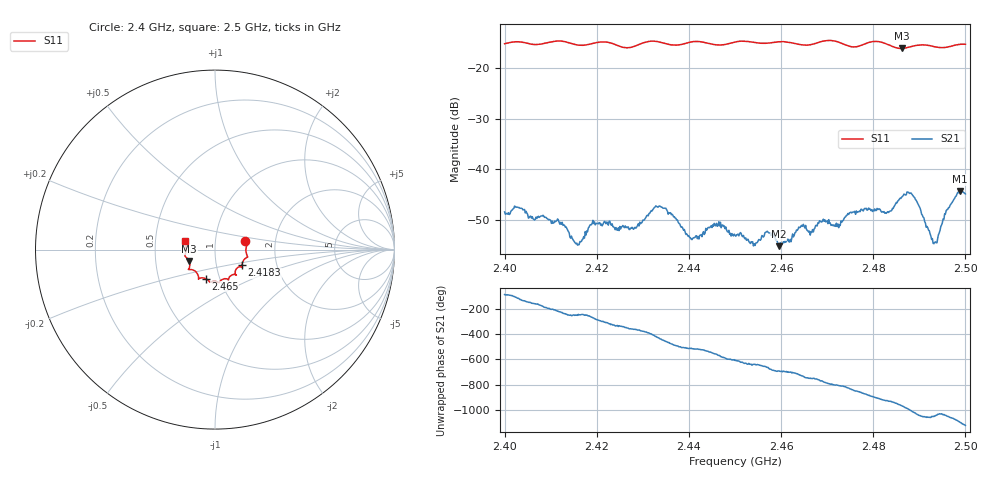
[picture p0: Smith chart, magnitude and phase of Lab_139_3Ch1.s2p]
# Hz S RI R 50
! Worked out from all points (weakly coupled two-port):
!   601 points, 2.4 GHz to 2.5 GHz, reference 50 ohm
!   highest |S21| = -44.32 dB at 2.4988 GHz (marker M1); lowest = -55.2 dB at 2.4595 GHz (marker M2)
!   lowest |S11| = -16.1 dB at 2.4862 GHz (marker M3), VSWR 1.37, Z = 37.1 - j4.81 ohm
!   |S11| at or under -10 dB: start of sweep to end of sweep
!   S12 and S22 are empty: the file has one direction only
!   S11 on the Smith chart (normalised r, x): 2.4 GHz: 1.40, +0.13; 2.4183 GHz: 1.33, -0.24; 2.465 GHz: 0.86, -0.29; 2.5 GHz: 0.71, +0.07
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2.4e9  0.1693 0.046  0.000252 -0.00379  0 0  0 0
2.411667e9  0.1824 -0.0408  -0.00246 0.00198  0 0  0 0
2.416667e9  0.1548 -0.0682  -0.000832 0.00175  0 0  0 0
2.418333e9  0.1497 -0.087  -0.00069 0.0026  0 0  0 0
2.428333e9  0.1128 -0.1227  0.00267 -8.63e-05  0 0  0 0
2.433333e9  0.1174 -0.1409  0.0015 -0.00396  0 0  0 0
2.440333e9  0.0758 -0.1655  -0.0019 -0.000907  0 0  0 0
2.446e9  0.0533 -0.1622  -0.00274 0.00102  0 0  0 0
2.45e9  0.0253 -0.1808  -0.000784 0.0021  0 0  0 0
2.454333e9  0.0127 -0.1798  0.000293 0.00174  0 0  0 0
2.457167e9  -0.0112 -0.1775  0.00135 0.00198  0 0  0 0
2.4595e9  -0.0258 -0.1816  0.00154 0.000812  0 0  0 0
2.465e9  -0.0524 -0.1617  0.0026 -0.000874  0 0  0 0
2.466667e9  -0.0714 -0.1573  0.00203 -0.00125  0 0  0 0
2.475333e9  -0.1037 -0.1265  -0.00188 -0.0032  0 0  0 0
2.483333e9  -0.1415 -0.0965  -0.00314 0.00204  0 0  0 0
2.486167e9  -0.1441 -0.0631  -0.002 0.00492  0 0  0 0
2.488667e9  -0.1612 -0.0424  0.00261 0.0048  0 0  0 0
2.4935e9  -0.1625 -0.0148  0.00164 0.000997  0 0  0 0
2.496e9  -0.1612 0.0166  0.00351 0.00192  0 0  0 0
2.498833e9  -0.168 0.0412  0.00572 -0.00207  0 0  0 0
2.5e9  -0.167 0.0468  0.00405 -0.00403  0 0  0 0
